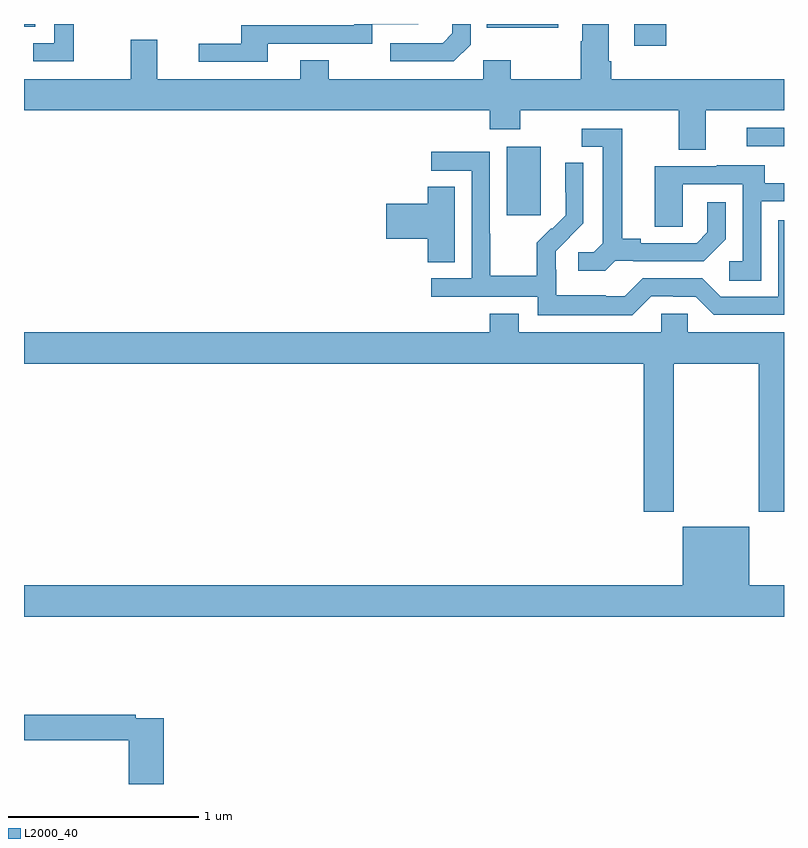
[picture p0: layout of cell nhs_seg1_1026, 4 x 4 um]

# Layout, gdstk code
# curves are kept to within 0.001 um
import gdstk
lib = gdstk.Library(unit=1e-6, precision=1e-09)
def R(c, l, rs):  # rectangles x0, y0, x1, y1
    for r in rs: c.add(gdstk.rectangle(r[:2], r[2:], *l))
def P(c, l, *ps):  # polygons
    for p in ps: c.add(gdstk.Polygon(p, *l))
L2000_40 = (2000, 40)

nhs_seg1_1026 = lib.new_cell('nhs_seg1_1026')
R(nhs_seg1_1026, L2000_40, [(169.541,539.193,169.72,539.554), (170.805,539.556,171,539.652), (170.213,540.084,170.381,540.199), (169.435,540.179,169.813,540.199), (167,540.184,167.058,540.199), (167.759,540.197,168.013,540.199)])
P(nhs_seg1_1026, L2000_40, [(167.263,540.199),(167.159,540.199),(167.159,540.099),(167.049,540.099),(167.049,540.003),(167.263,540.003)],
  [(168.283,540.096),(168.834,540.096),(168.834,540.198),(169.074,540.198),(169.075,540.199),(168.738,540.199),(168.738,540.192),(168.143,540.192),(168.143,540.096),(167.919,540.096),(167.919,540),(168.283,540)],
  [(169.35,540.09),(169.35,540.199),(169.254,540.199),(169.254,540.15),(169.203,540.099),(168.927,540.099),(168.927,540.003),(169.263,540.003)],
  [(170.587,539.744),(171,539.744),(171,539.908),(170.09,539.908),(170.09,540.004),(170.077,540.004),(170.077,540.199),(169.937,540.199),(169.937,540.107),(169.93,540.107),(169.93,539.908),(169.563,539.908),(169.563,540.007),(169.416,540.007),(169.416,539.908),(168.603,539.908),(168.603,540.007),(168.455,540.007),(168.455,539.908),(167.701,539.908),(167.701,540.116),(167.561,540.116),(167.561,539.908),(167,539.908),(167,539.744),(169.451,539.744),(169.451,539.645),(169.611,539.645),(169.611,539.744),(170.447,539.744),(170.447,539.536),(170.587,539.536)],
  [(170.112,538.953),(170.206,538.953),(170.206,538.95),(170.578,538.95),(170.694,539.066),(170.694,539.26),(170.597,539.26),(170.597,539.103),(170.54,539.046),(170.245,539.046),(170.245,539.069),(170.149,539.069),(170.149,539.649),(169.935,539.649),(169.935,539.553),(170.045,539.553),(170.045,539.045),(169.998,538.998),(169.917,538.998),(169.917,538.901),(170.06,538.901)],
  [(170.301,538.767),(170.417,538.767),(170.417,538.764),(170.535,538.764),(170.631,538.668),(171,538.668),(171,539.166),(170.97,539.166),(170.97,538.764),(170.667,538.764),(170.571,538.86),(170.256,538.86),(170.163,538.767),(170.063,538.767),(170.063,538.771),(169.8,538.771),(169.8,538.905),(169.798,538.905),(169.798,539.002),(169.944,539.15),(169.944,539.468),(169.848,539.468),(169.848,539.314),(169.85,539.314),(169.85,539.192),(169.779,539.121),(169.776,539.124),(169.699,539.047),(169.699,538.873),(169.455,538.873),(169.455,539.096),(169.452,539.096),(169.452,539.526),(169.143,539.526),(169.143,539.427),(169.356,539.427),(169.356,538.86),(169.143,538.86),(169.143,538.764),(169.704,538.764),(169.704,538.667),(170.201,538.667)],
  [(170.88,539.265),(171,539.265),(171,539.361),(170.899,539.361),(170.899,539.455),(170.645,539.455),(170.645,539.451),(170.321,539.451),(170.321,539.131),(170.466,539.131),(170.466,539.355),(170.784,539.355),(170.784,538.95),(170.712,538.95),(170.712,538.849),(170.88,538.849)],
  [(169.267,539.342),(169.124,539.342),(169.124,539.252),(168.906,539.252),(168.906,539.069),(169.124,539.069),(169.124,538.945),(169.267,538.945)],
  [(170.421,538.412),(170.866,538.412),(170.866,537.633),(171,537.633),(171,538.576),(170.493,538.576),(170.493,538.674),(170.355,538.674),(170.355,538.576),(169.603,538.576),(169.603,538.675),(169.451,538.675),(169.451,538.576),(167,538.576),(167,538.412),(170.261,538.412),(170.261,537.633),(170.421,537.633)],
  [(171,537.244),(170.818,537.244),(170.818,537.553),(170.468,537.553),(170.468,537.244),(167,537.244),(167,537.08),(171,537.08)],
  [(167.735,536.544),(167.588,536.544),(167.588,536.564),(167,536.564),(167,536.428),(167.552,536.428),(167.552,536.199),(167.735,536.199)])

lib.write_gds('nhs_seg1_1026.gds')
